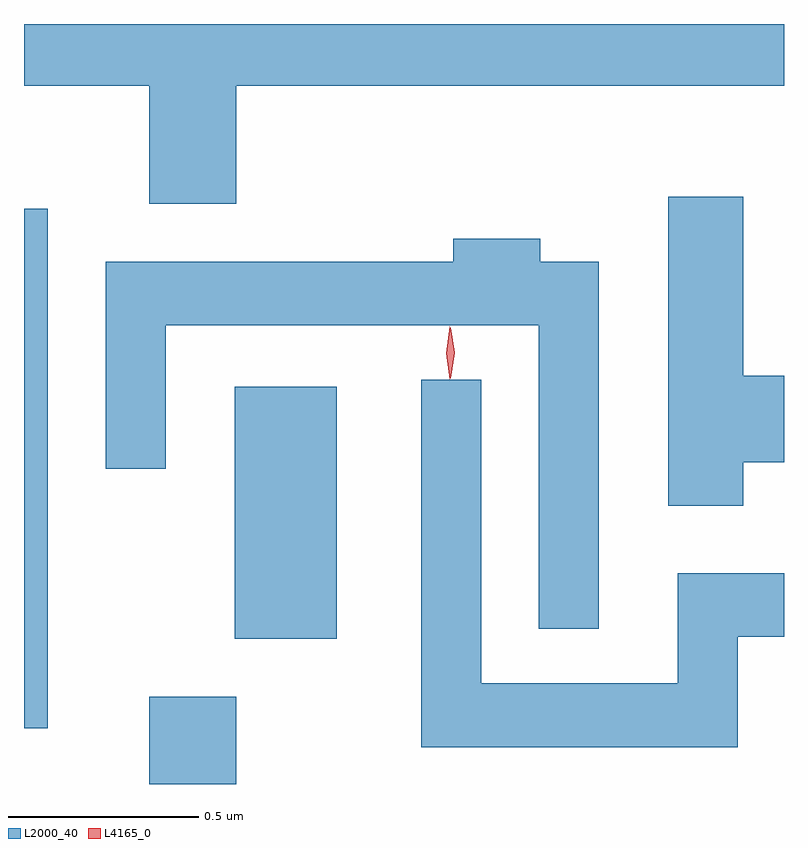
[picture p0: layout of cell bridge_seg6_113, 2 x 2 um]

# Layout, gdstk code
import gdstk
lib = gdstk.Library(unit=1e-6, precision=1e-09)
def R(c, l, rs):  # rectangles x0, y0, x1, y1
    for r in rs: c.add(gdstk.rectangle(r[:2], r[2:], *l))
def P(c, l, *ps):  # polygons
    for p in ps: c.add(gdstk.Polygon(p, *l))
L2000_40 = (2000, 40)
L4165_0 = (4165, 0)

bridge_seg6_113 = lib.new_cell('bridge_seg6_113')
R(bridge_seg6_113, L2000_40, [(1055.311,1612.579,1055.539,1612.809), (1054.981,1612.726,1055.044,1614.093), (1055.536,1612.961,1055.804,1613.624)])
P(bridge_seg6_113, L2000_40, [(1055.539,1614.416),(1056.981,1614.416),(1056.981,1614.579),(1054.981,1614.579),(1054.981,1614.416),(1055.311,1614.416),(1055.311,1614.106),(1055.539,1614.106)],
  [(1056.874,1613.426),(1056.981,1613.426),(1056.981,1613.654),(1056.874,1613.654),(1056.874,1614.124),(1056.676,1614.124),(1056.676,1613.311),(1056.874,1613.311)],
  [(1056.494,1613.954),(1056.339,1613.954),(1056.339,1614.014),(1056.111,1614.014),(1056.111,1613.954),(1055.196,1613.954),(1055.196,1613.408),(1055.354,1613.408),(1055.354,1613.786),(1056.336,1613.786),(1056.336,1612.988),(1056.494,1612.988)],
  [(1056.859,1612.966),(1056.981,1612.966),(1056.981,1613.134),(1056.701,1613.134),(1056.701,1612.844),(1056.184,1612.844),(1056.184,1613.643),(1056.026,1613.643),(1056.026,1612.676),(1056.859,1612.676)])
P(bridge_seg6_113, L4165_0, [(1056.101,1613.644),(1056.092,1613.713),(1056.101,1613.782),(1056.102,1613.783),(1056.102,1613.782),(1056.112,1613.713),(1056.102,1613.644),(1056.102,1613.644)],
  [(1056.103,1613.647),(1056.094,1613.714),(1056.103,1613.78),(1056.104,1613.78),(1056.104,1613.78),(1056.114,1613.714),(1056.104,1613.647),(1056.104,1613.647)])

lib.write_gds('bridge_seg6_113.gds')
